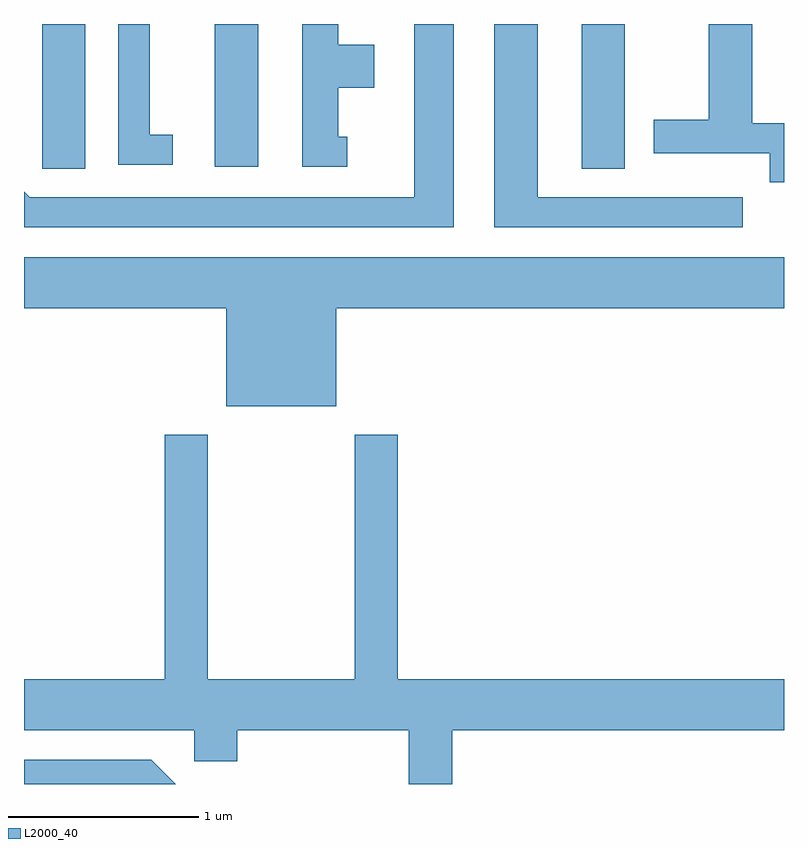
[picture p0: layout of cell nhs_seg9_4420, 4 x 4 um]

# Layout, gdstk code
import gdstk
lib = gdstk.Library(unit=1e-6, precision=1e-09)
def R(c, l, rs):  # rectangles x0, y0, x1, y1
    for r in rs: c.add(gdstk.rectangle(r[:2], r[2:], *l))
def P(c, l, *ps):  # polygons
    for p in ps: c.add(gdstk.Polygon(p, *l))
L2000_40 = (2000, 40)

nhs_seg9_4420 = lib.new_cell('nhs_seg9_4420')
R(nhs_seg9_4420, L2000_40, [(315.706,1983.671,315.934,1984.432), (318.546,1983.671,318.774,1984.432), (316.616,1983.681,316.844,1984.432)])
P(nhs_seg9_4420, L2000_40, [(319.611,1983.909),(319.444,1983.909),(319.444,1984.432),(319.216,1984.432),(319.216,1983.929),(318.926,1983.929),(318.926,1983.751),(319.536,1983.751),(319.536,1983.598),(319.611,1983.598)],
  [(317.874,1984.432),(317.666,1984.432),(317.666,1983.519),(315.642,1983.519),(315.611,1983.55),(315.611,1983.361),(317.874,1983.361)],
  [(316.393,1983.849),(316.274,1983.849),(316.274,1984.432),(316.106,1984.432),(316.106,1983.691),(316.393,1983.691)],
  [(319.393,1983.519),(318.314,1983.519),(318.314,1984.432),(318.086,1984.432),(318.086,1983.361),(319.393,1983.361)],
  [(317.313,1983.839),(317.264,1983.839),(317.264,1984.096),(317.454,1984.096),(317.454,1984.324),(317.264,1984.324),(317.264,1984.432),(317.076,1984.432),(317.076,1983.681),(317.313,1983.681)],
  [(317.254,1982.936),(319.611,1982.936),(319.611,1983.204),(315.611,1983.204),(315.611,1982.936),(316.676,1982.936),(316.676,1982.421),(317.254,1982.421)],
  [(317.864,1980.716),(319.611,1980.716),(319.611,1980.984),(317.579,1980.984),(317.579,1982.269),(317.351,1982.269),(317.351,1980.984),(316.579,1980.984),(316.579,1982.269),(316.351,1982.269),(316.351,1980.984),(315.611,1980.984),(315.611,1980.716),(316.506,1980.716),(316.506,1980.551),(316.734,1980.551),(316.734,1980.716),(317.636,1980.716),(317.636,1980.432),(317.864,1980.432)],
  [(316.282,1980.559),(315.611,1980.559),(315.611,1980.432),(316.409,1980.432)])

lib.write_gds('nhs_seg9_4420.gds')
